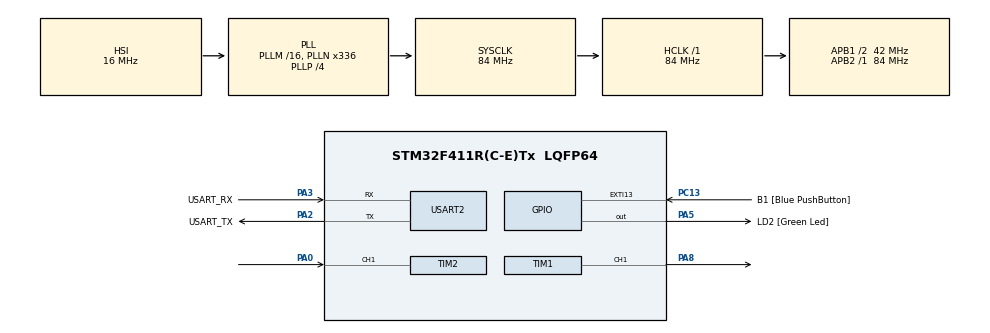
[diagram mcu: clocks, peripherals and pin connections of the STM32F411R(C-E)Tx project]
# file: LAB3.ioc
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Dma.Request0=TIM2_CH1
Dma.TIM2_CH1.0.Direction=DMA_PERIPH_TO_MEMORY
Dma.TIM2_CH1.0.FIFOMode=DMA_FIFOMODE_DISABLE
Dma.TIM2_CH1.0.Instance=DMA1_Stream5
Dma.TIM2_CH1.0.MemDataAlignment=DMA_MDATAALIGN_WORD
Dma.TIM2_CH1.0.MemInc=DMA_MINC_ENABLE
Dma.TIM2_CH1.0.Mode=DMA_CIRCULAR
Dma.TIM2_CH1.0.PeriphDataAlignment=DMA_PDATAALIGN_WORD
Dma.TIM2_CH1.0.PeriphInc=DMA_PINC_DISABLE
Dma.TIM2_CH1.0.Priority=DMA_PRIORITY_LOW
Mcu.Family=STM32F4
Mcu.Name=STM32F411R(C-E)Tx
Mcu.Package=LQFP64
NVIC.DMA1_Stream5_IRQn=true\:0\:0\:false\:false\:true\:false\:true\:true
NVIC.PriorityGroup=NVIC_PRIORITYGROUP_0
PA0-WKUP.Signal=S_TIM2_CH1_ETR
PA13.GPIO_Label=TMS
PA13.Mode=Serial_Wire
PA13.Signal=SYS_JTMS-SWDIO
PA14.GPIO_Label=TCK
PA14.Mode=Serial_Wire
PA14.Signal=SYS_JTCK-SWCLK
PA2.GPIO_Label=USART_TX
PA2.Mode=Asynchronous
PA2.Signal=USART2_TX
PA3.GPIO_Label=USART_RX
PA3.Mode=Asynchronous
PA3.Signal=USART2_RX
PA5.GPIO_Label=LD2 [Green Led]
PA5.Signal=GPIO_Output
PA8.Signal=S_TIM1_CH1
PB3.GPIO_Label=SWO
PB3.Signal=SYS_JTDO-SWO
PC13-ANTI_TAMP.GPIO_Label=B1 [Blue PushButton]
PC13-ANTI_TAMP.GPIO_ModeDefaultEXTI=GPIO_MODE_IT_FALLING
PC13-ANTI_TAMP.Signal=GPXTI13
PC14-OSC32_IN.Mode=LSE-External-Oscillator
PC14-OSC32_IN.Signal=RCC_OSC32_IN
PC15-OSC32_OUT.Mode=LSE-External-Oscillator
PC15-OSC32_OUT.Signal=RCC_OSC32_OUT
PH0\ -\ OSC_IN.Mode=HSE-External-Clock-Source
PH0\ -\ OSC_IN.Signal=RCC_OSC_IN
PH1\ -\ OSC_OUT.Mode=HSE-External-Clock-Source
PH1\ -\ OSC_OUT.Signal=RCC_OSC_OUT
ProjectManager.HeapSize=0x200
ProjectManager.StackSize=0x400
ProjectManager.TargetToolchain=STM32CubeIDE
RCC.48MHZClocksFreq_Value=84000000
RCC.AHBFreq_Value=84000000
RCC.APB1CLKDivider=RCC_HCLK_DIV2
RCC.APB1Freq_Value=42000000
RCC.APB1TimFreq_Value=84000000
RCC.APB2Freq_Value=84000000
RCC.APB2TimFreq_Value=84000000
RCC.CortexFreq_Value=84000000
RCC.FLatency-AdvancedSettings=FLASH_LATENCY_2
RCC.HCLKFreq_Value=84000000
RCC.HSE_VALUE=8000000
RCC.HSI_VALUE=16000000
RCC.PLLN=336
RCC.PLLP=RCC_PLLP_DIV4
RCC.SYSCLKFreq_VALUE=84000000
RCC.SYSCLKSource=RCC_SYSCLKSOURCE_PLLCLK
RCC.VCOOutputFreq_Value=336000000
SH.S_TIM1_CH1.0=TIM1_CH1,PWM Generation1 CH1
SH.S_TIM2_CH1_ETR.0=TIM2_CH1,Input_Capture1_from_TI1
TIM1.Channel-PWM\ Generation1\ CH1=TIM_CHANNEL_1
TIM1.Period=999
TIM1.Prescaler=83
TIM2.Channel-Input_Capture1_from_TI1=TIM_CHANNEL_1
TIM2.Prescaler=83
TIM2.TIM_MasterOutputTrigger=TIM_TRGO_UPDATE
USART2.VirtualMode=VM_ASYNC
VP_TIM1_VS_ClockSourceINT.Mode=Internal
VP_TIM2_VS_ClockSourceINT.Mode=Internal
board=NUCLEO-F411RE

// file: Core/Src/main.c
/* USER CODE BEGIN Header */
/**
 ******************************************************************************
 * @file           : main.c
 * @brief          : Main program body
 ******************************************************************************
 * @attention
 *
 * Copyright (c) 2023 STMicroelectronics.
 * All rights reserved.
 *
 * This software is licensed under terms that can be found in the LICENSE file
 * in the root directory of this software component.
 * If no LICENSE file comes with this software, it is provided AS-IS.
 *
 ******************************************************************************
 */
/* USER CODE END Header */
#include "main.h"

/* USER CODE BEGIN Includes */
//Kunyarak Nielsen
#define IC_BUFFER_SIZE 20

/* USER CODE END Includes */

TIM_HandleTypeDef htim1;
TIM_HandleTypeDef htim2;
DMA_HandleTypeDef hdma_tim2_ch1;

UART_HandleTypeDef huart2;

/* USER CODE BEGIN PV */

uint32_t InputCaptureBuffer[IC_BUFFER_SIZE]; //size 20
float averageRisingedgePeriod;
uint32_t duty = 500; //Duty cycle start at 500 = 5%
float MotorReadRPM;
float MotorSetDuty;
float MotorSetRPM = 0; //RPM start at 0
uint32_t MotorControlEnable = 0; //start at mode 0

/* USER CODE END PV */

void SystemClock_Config(void);
static void MX_GPIO_Init(void);
static void MX_DMA_Init(void);
static void MX_USART2_UART_Init(void);
static void MX_TIM2_Init(void);
static void MX_TIM1_Init(void);
/* USER CODE BEGIN PFP */

float IC_Calc_Period();

/* USER CODE END PFP */

int main(void)
{

  /* MCU Configuration--------------------------------------------------------*/

  /* Reset of all peripherals, Initializes the Flash interface and the Systick. */
  HAL_Init();

  /* Configure the system clock */
  SystemClock_Config();

  /* Initialize all configured peripherals */
  MX_GPIO_Init();
  MX_DMA_Init();
  MX_USART2_UART_Init();
  MX_TIM2_Init();
  MX_TIM1_Init();
  /* USER CODE BEGIN 2 */

//start timer
	HAL_TIM_Base_Start(&htim2); //start timer 2
	HAL_TIM_IC_Start_DMA(&htim2, TIM_CHANNEL_1, InputCaptureBuffer,IC_BUFFER_SIZE); //channel 1 Capture

	HAL_TIM_Base_Start(&htim1); //start timer 1
	HAL_TIM_PWM_Start(&htim1, TIM_CHANNEL_1); //PWM change volt

  /* USER CODE END 2 */

  /* Infinite loop */
	while (1) {

    /* USER CODE BEGIN 3 */

		static uint32_t timestamp = 0;
		if (HAL_GetTick() >= timestamp)
		{
			if (MotorControlEnable == 0)
				// Mode controlEnable = 0
			{
			duty = 10 * MotorSetDuty; //set gain motorsetduty to same at period
			}
			else if (MotorControlEnable == 1) //mode 1
			{
				if (MotorSetRPM*0.95 > MotorReadRPM) //if RPM set more than now add more duty set 5% tolerance
				{
					duty = (duty + 10)%1000; //if duty more than 1000 drop with mod 1000 if 1200 = 200

				}

				else if (MotorSetRPM*1.05 < MotorReadRPM) //if RPM set less than now drop duty set 5% tolerance
				{
					duty = (duty - 10)%1000;

				}

			}
			timestamp = HAL_GetTick() + 500; //delay 2 Hz
			averageRisingedgePeriod = IC_Calc_Period();

			__HAL_TIM_SET_COMPARE(&htim1, TIM_CHANNEL_1, duty); //

			MotorReadRPM = (60 * 1000000) / (averageRisingedgePeriod * 12 * 64);
			//(1pulse/micro sec)*(1 rev./12pulse)*(1/averageRisingedgePeriod)*(1/64 gear ratio)*(60 min)=rpm

		}

	}
  /* USER CODE END 3 */
}

void SystemClock_Config(void)
{
  RCC_OscInitTypeDef RCC_OscInitStruct = {0};
  RCC_ClkInitTypeDef RCC_ClkInitStruct = {0};

  /** Configure the main internal regulator output voltage
  */
  __HAL_RCC_PWR_CLK_ENABLE();
  __HAL_PWR_VOLTAGESCALING_CONFIG(PWR_REGULATOR_VOLTAGE_SCALE1);

  /** Initializes the RCC Oscillators according to the specified parameters
  * in the RCC_OscInitTypeDef structure.
  */
  RCC_OscInitStruct.OscillatorType = RCC_OSCILLATORTYPE_HSI;
  RCC_OscInitStruct.HSIState = RCC_HSI_ON;
  RCC_OscInitStruct.HSICalibrationValue = RCC_HSICALIBRATION_DEFAULT;
  RCC_OscInitStruct.PLL.PLLState = RCC_PLL_ON;
  RCC_OscInitStruct.PLL.PLLSource = RCC_PLLSOURCE_HSI;
  RCC_OscInitStruct.PLL.PLLM = 16;
  RCC_OscInitStruct.PLL.PLLN = 336;
  RCC_OscInitStruct.PLL.PLLP = RCC_PLLP_DIV4;
  RCC_OscInitStruct.PLL.PLLQ = 4;
  if (HAL_RCC_OscConfig(&RCC_OscInitStruct) != HAL_OK)
  {
    Error_Handler();
  }

  /** Initializes the CPU, AHB and APB buses clocks
  */
  RCC_ClkInitStruct.ClockType = RCC_CLOCKTYPE_HCLK|RCC_CLOCKTYPE_SYSCLK
                              |RCC_CLOCKTYPE_PCLK1|RCC_CLOCKTYPE_PCLK2;
  RCC_ClkInitStruct.SYSCLKSource = RCC_SYSCLKSOURCE_PLLCLK;
  RCC_ClkInitStruct.AHBCLKDivider = RCC_SYSCLK_DIV1;
  RCC_ClkInitStruct.APB1CLKDivider = RCC_HCLK_DIV2;
  RCC_ClkInitStruct.APB2CLKDivider = RCC_HCLK_DIV1;

  if (HAL_RCC_ClockConfig(&RCC_ClkInitStruct, FLASH_LATENCY_2) != HAL_OK)
  {
    Error_Handler();
  }
}

static void MX_TIM1_Init(void)
{

  TIM_ClockConfigTypeDef sClockSourceConfig = {0};
  TIM_MasterConfigTypeDef sMasterConfig = {0};
  TIM_OC_InitTypeDef sConfigOC = {0};
  TIM_BreakDeadTimeConfigTypeDef sBreakDeadTimeConfig = {0};

  htim1.Instance = TIM1;
  htim1.Init.Prescaler = 83;
  htim1.Init.CounterMode = TIM_COUNTERMODE_UP;
  htim1.Init.Period = 999;
  htim1.Init.ClockDivision = TIM_CLOCKDIVISION_DIV1;
  htim1.Init.RepetitionCounter = 0;
  htim1.Init.AutoReloadPreload = TIM_AUTORELOAD_PRELOAD_DISABLE;
  if (HAL_TIM_Base_Init(&htim1) != HAL_OK)
  {
    Error_Handler();
  }
  sClockSourceConfig.ClockSource = TIM_CLOCKSOURCE_INTERNAL;
  if (HAL_TIM_ConfigClockSource(&htim1, &sClockSourceConfig) != HAL_OK)
  {
    Error_Handler();
  }
  if (HAL_TIM_PWM_Init(&htim1) != HAL_OK)
  {
    Error_Handler();
  }
  sMasterConfig.MasterOutputTrigger = TIM_TRGO_RESET;
  sMasterConfig.MasterSlaveMode = TIM_MASTERSLAVEMODE_DISABLE;
  if (HAL_TIMEx_MasterConfigSynchronization(&htim1, &sMasterConfig) != HAL_OK)
  {
    Error_Handler();
  }
  sConfigOC.OCMode = TIM_OCMODE_PWM1;
  sConfigOC.Pulse = 0;
  sConfigOC.OCPolarity = TIM_OCPOLARITY_HIGH;
  sConfigOC.OCNPolarity = TIM_OCNPOLARITY_HIGH;
  sConfigOC.OCFastMode = TIM_OCFAST_DISABLE;
  sConfigOC.OCIdleState = TIM_OCIDLESTATE_RESET;
  sConfigOC.OCNIdleState = TIM_OCNIDLESTATE_RESET;
  if (HAL_TIM_PWM_ConfigChannel(&htim1, &sConfigOC, TIM_CHANNEL_1) != HAL_OK)
  {
    Error_Handler();
  }
  sBreakDeadTimeConfig.OffStateRunMode = TIM_OSSR_DISABLE;
  sBreakDeadTimeConfig.OffStateIDLEMode = TIM_OSSI_DISABLE;
  sBreakDeadTimeConfig.LockLevel = TIM_LOCKLEVEL_OFF;
  sBreakDeadTimeConfig.DeadTime = 0;
  sBreakDeadTimeConfig.BreakState = TIM_BREAK_DISABLE;
  sBreakDeadTimeConfig.BreakPolarity = TIM_BREAKPOLARITY_HIGH;
  sBreakDeadTimeConfig.AutomaticOutput = TIM_AUTOMATICOUTPUT_DISABLE;
  if (HAL_TIMEx_ConfigBreakDeadTime(&htim1, &sBreakDeadTimeConfig) != HAL_OK)
  {
    Error_Handler();
  }
  HAL_TIM_MspPostInit(&htim1);

}

static void MX_TIM2_Init(void)
{

  TIM_ClockConfigTypeDef sClockSourceConfig = {0};
  TIM_MasterConfigTypeDef sMasterConfig = {0};
  TIM_IC_InitTypeDef sConfigIC = {0};

  htim2.Instance = TIM2;
  htim2.Init.Prescaler = 83;
  htim2.Init.CounterMode = TIM_COUNTERMODE_UP;
  htim2.Init.Period = 4294967295;
  htim2.Init.ClockDivision = TIM_CLOCKDIVISION_DIV1;
  htim2.Init.AutoReloadPreload = TIM_AUTORELOAD_PRELOAD_DISABLE;
  if (HAL_TIM_Base_Init(&htim2) != HAL_OK)
  {
    Error_Handler();
  }
  sClockSourceConfig.ClockSource = TIM_CLOCKSOURCE_INTERNAL;
  if (HAL_TIM_ConfigClockSource(&htim2, &sClockSourceConfig) != HAL_OK)
  {
    Error_Handler();
  }
  if (HAL_TIM_IC_Init(&htim2) != HAL_OK)
  {
    Error_Handler();
  }
  sMasterConfig.MasterOutputTrigger = TIM_TRGO_UPDATE;
  sMasterConfig.MasterSlaveMode = TIM_MASTERSLAVEMODE_DISABLE;
  if (HAL_TIMEx_MasterConfigSynchronization(&htim2, &sMasterConfig) != HAL_OK)
  {
    Error_Handler();
  }
  sConfigIC.ICPolarity = TIM_INPUTCHANNELPOLARITY_RISING;
  sConfigIC.ICSelection = TIM_ICSELECTION_DIRECTTI;
  sConfigIC.ICPrescaler = TIM_ICPSC_DIV1;
  sConfigIC.ICFilter = 0;
  if (HAL_TIM_IC_ConfigChannel(&htim2, &sConfigIC, TIM_CHANNEL_1) != HAL_OK)
  {
    Error_Handler();
  }

}

static void MX_USART2_UART_Init(void)
{

  huart2.Instance = USART2;
  huart2.Init.BaudRate = 115200;
  huart2.Init.WordLength = UART_WORDLENGTH_8B;
  huart2.Init.StopBits = UART_STOPBITS_1;
  huart2.Init.Parity = UART_PARITY_NONE;
  huart2.Init.Mode = UART_MODE_TX_RX;
  huart2.Init.HwFlowCtl = UART_HWCONTROL_NONE;
  huart2.Init.OverSampling = UART_OVERSAMPLING_16;
  if (HAL_UART_Init(&huart2) != HAL_OK)
  {
    Error_Handler();
  }

}

static void MX_DMA_Init(void)
{

  /* DMA controller clock enable */
  __HAL_RCC_DMA1_CLK_ENABLE();

  /* DMA interrupt init */
  /* DMA1_Stream5_IRQn interrupt configuration */
  HAL_NVIC_SetPriority(DMA1_Stream5_IRQn, 0, 0);
  HAL_NVIC_EnableIRQ(DMA1_Stream5_IRQn);

}

static void MX_GPIO_Init(void)
{
  GPIO_InitTypeDef GPIO_InitStruct = {0};

  /* GPIO Ports Clock Enable */
  __HAL_RCC_GPIOC_CLK_ENABLE();
  __HAL_RCC_GPIOH_CLK_ENABLE();
  __HAL_RCC_GPIOA_CLK_ENABLE();
  __HAL_RCC_GPIOB_CLK_ENABLE();

  /*Configure GPIO pin Output Level */
  HAL_GPIO_WritePin(LD2_GPIO_Port, LD2_Pin, GPIO_PIN_RESET);

  /*Configure GPIO pin : B1_Pin */
  GPIO_InitStruct.Pin = B1_Pin;
  GPIO_InitStruct.Mode = GPIO_MODE_IT_FALLING;
  GPIO_InitStruct.Pull = GPIO_NOPULL;
  HAL_GPIO_Init(B1_GPIO_Port, &GPIO_InitStruct);

  /*Configure GPIO pin : LD2_Pin */
  GPIO_InitStruct.Pin = LD2_Pin;
  GPIO_InitStruct.Mode = GPIO_MODE_OUTPUT_PP;
  GPIO_InitStruct.Pull = GPIO_NOPULL;
  GPIO_InitStruct.Speed = GPIO_SPEED_FREQ_LOW;
  HAL_GPIO_Init(LD2_GPIO_Port, &GPIO_InitStruct);

}

/* USER CODE BEGIN 4 */

float IC_Calc_Period() //capture
{// avg 5 total behind
	uint32_t currentDMAPointer = IC_BUFFER_SIZE
			- __HAL_DMA_GET_COUNTER((htim2.hdma[1]));
	uint32_t lastVaildDMAPointer = (currentDMAPointer - 1 + IC_BUFFER_SIZE)
			% IC_BUFFER_SIZE;
	uint32_t i = (lastVaildDMAPointer + IC_BUFFER_SIZE - 5) % IC_BUFFER_SIZE;

	int32_t sumdiff = 0;

	while (i != lastVaildDMAPointer) {
		uint32_t firstCapture = InputCaptureBuffer[i];

		uint32_t NextCapture = InputCaptureBuffer[(i + 1) % IC_BUFFER_SIZE];
		sumdiff += NextCapture - firstCapture;
		i = (i + 1) % IC_BUFFER_SIZE;
	}
	return sumdiff / 5.0;
}

/* USER CODE END 4 */

void Error_Handler(void)
{
	__disable_irq();
	while (1) {
	}
}
